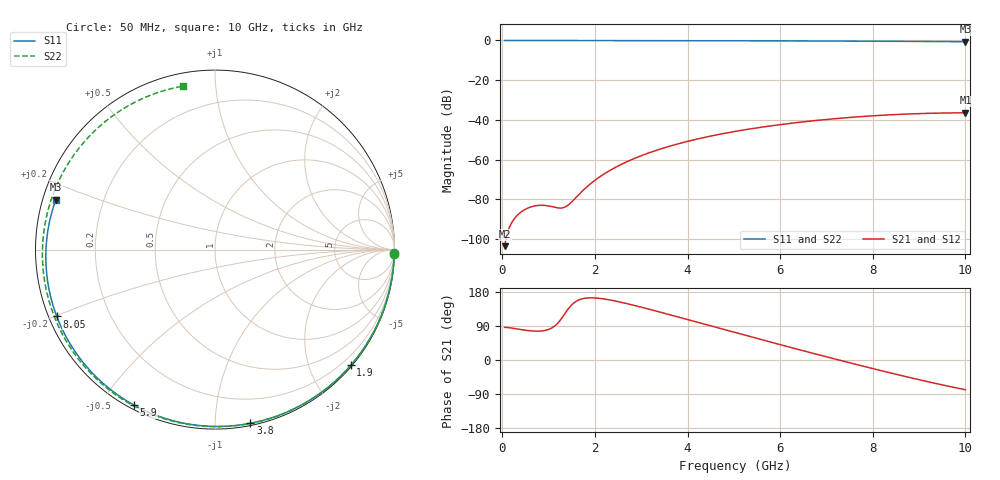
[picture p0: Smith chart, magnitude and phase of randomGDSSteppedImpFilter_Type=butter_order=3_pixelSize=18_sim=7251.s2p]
! freq	dB(S11)	phase(S11)	dB(S12)	phase(S12)
!  dB(S21)	phase(S21)	dB(S22)	phase(S22)
!S-par simulation data
#  GHz  S  DB  R 50
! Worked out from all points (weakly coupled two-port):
!   200 points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, 50 MHz to 10 GHz, reference 50 ohm
!   highest |S21| = -36.41 dB at 10 GHz (marker M1); lowest = -103.6 dB at 50 MHz (marker M2)
!   lowest |S11| = -0.6 dB at 10 GHz (marker M3), VSWR 27.32, Z = 1.87 + j7.62 ohm
!   |S11| at or under -10 dB: nowhere
!   |S22| runs from -0.6 to 0.0 dB; largest |S21 - S12| = 0
!   S11 on the Smith chart (normalised r, x): 50 MHz: open; 1.9 GHz: 0.02, -2.71; 3.8 GHz: 0.02, -1.22; 5.9 GHz: 0.02, -0.61; 8.05 GHz: 0.02, -0.20; 10 GHz: 0.04, +0.15
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0.05  -0.00 -1.0  -103.56 86.0  -103.56 86.0  -0.00 -1.4
0.75  -0.02 -16.2  -83.12 76.1  -83.12 76.1  -0.03 -21.8
1.15  -0.03 -24.7  -84.06 91.5  -84.06 91.5  -0.04 -33.2
1.55  -0.04 -33.2  -80.04 151.0  -80.04 151.0  -0.06 -44.4
1.75  -0.05 -37.3  -75.33 162.2  -75.33 162.2  -0.06 -49.9
1.9  -0.05 -40.5  -72.23 164.1  -72.23 164.1  -0.07 -54.0
2.2  -0.06 -46.6  -67.18 161.0  -67.18 161.0  -0.08 -62.1
2.55  -0.07 -53.8  -62.61 152.7  -62.61 152.7  -0.09 -71.4
2.95  -0.08 -61.8  -58.48 141.0  -58.48 141.0  -0.10 -81.8
3.4  -0.09 -70.7  -54.75 126.6  -54.75 126.6  -0.12 -93.2
3.8  -0.11 -78.5  -52.02 113.4  -52.02 113.4  -0.14 -103.0
4.4  -0.13 -89.9  -48.63 93.4  -48.63 93.4  -0.16 -117.5
5.05  -0.16 -102.0  -45.70 71.7  -45.70 71.7  -0.20 -132.8
5.9  -0.20 -117.6  -42.68 43.7  -42.68 43.7  -0.25 -152.5
6.7  -0.26 -132.1  -40.47 17.9  -40.47 17.9  -0.31 -171.2
7.4  -0.32 -144.9  -38.95 -4.2  -38.95 -4.2  -0.37 172.0
8.05  -0.38 -157.1  -37.86 -24.2  -37.86 -24.2  -0.44 155.8
8.35  -0.42 -162.9  -37.46 -33.2  -37.46 -33.2  -0.47 148.0
8.8  -0.47 -171.7  -36.99 -46.3  -36.99 -46.3  -0.52 135.9
9.25  -0.53 179.0  -36.66 -59.0  -36.66 -59.0  -0.57 123.3
9.65  -0.58 170.5  -36.49 -69.6  -36.49 -69.6  -0.61 111.7
10  -0.64 162.6  -36.41 -78.5  -36.41 -78.5  -0.65 101.2
